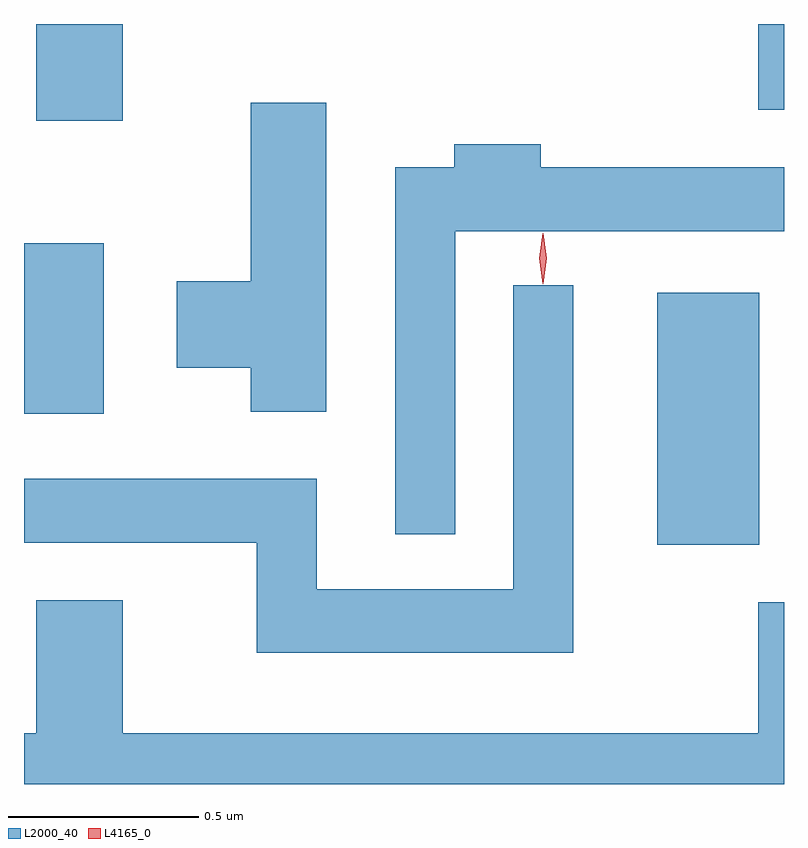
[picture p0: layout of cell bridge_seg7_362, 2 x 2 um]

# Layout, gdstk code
import gdstk
lib = gdstk.Library(unit=1e-6, precision=1e-09)
def R(c, l, rs):  # rectangles x0, y0, x1, y1
    for r in rs: c.add(gdstk.rectangle(r[:2], r[2:], *l))
def P(c, l, *ps):  # polygons
    for p in ps: c.add(gdstk.Polygon(p, *l))
L2000_40 = (2000, 40)
L4165_0 = (4165, 0)

bridge_seg7_362 = lib.new_cell('bridge_seg7_362')
R(bridge_seg7_362, L2000_40, [(1230.536,1759.481,1230.804,1760.144), (1228.869,1759.826,1229.079,1760.274), (1228.901,1760.596,1229.129,1760.851), (1230.801,1760.626,1230.869,1760.851)])
P(bridge_seg7_362, L2000_40, [(1229.664,1760.644),(1229.466,1760.644),(1229.466,1760.174),(1229.271,1760.174),(1229.271,1759.946),(1229.466,1759.946),(1229.466,1759.831),(1229.664,1759.831)],
  [(1230.004,1760.306),(1230.869,1760.306),(1230.869,1760.474),(1230.229,1760.474),(1230.229,1760.534),(1230.001,1760.534),(1230.001,1760.474),(1229.846,1760.474),(1229.846,1759.508),(1230.004,1759.508)],
  [(1230.314,1760.163),(1230.156,1760.163),(1230.156,1759.364),(1229.639,1759.364),(1229.639,1759.654),(1228.869,1759.654),(1228.869,1759.486),(1229.481,1759.486),(1229.481,1759.196),(1230.314,1759.196)],
  [(1230.869,1759.329),(1230.801,1759.329),(1230.801,1758.984),(1229.129,1758.984),(1229.129,1759.334),(1228.901,1759.334),(1228.901,1758.984),(1228.869,1758.984),(1228.869,1758.851),(1230.869,1758.851)])
P(bridge_seg7_362, L4165_0, [(1230.234,1760.167),(1230.225,1760.234),(1230.234,1760.3),(1230.235,1760.301),(1230.235,1760.3),(1230.245,1760.234),(1230.235,1760.167),(1230.235,1760.167)])

lib.write_gds('bridge_seg7_362.gds')
